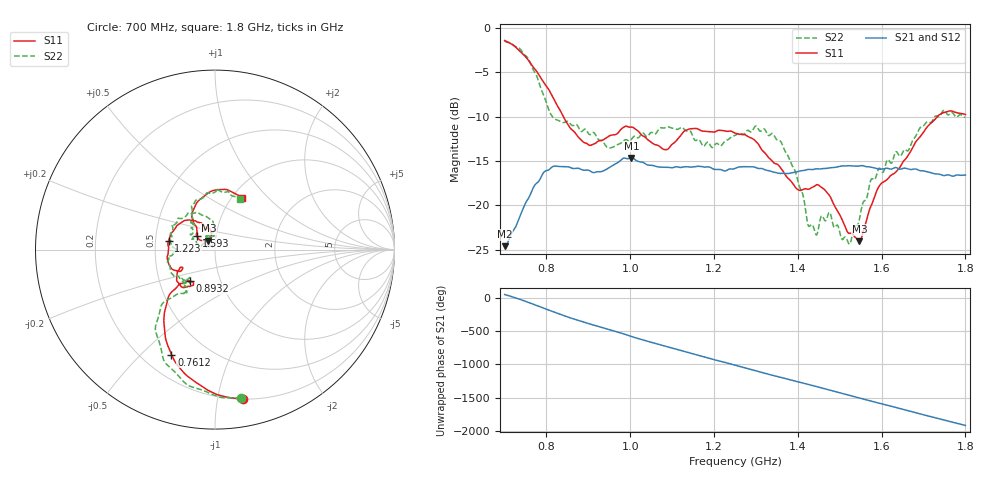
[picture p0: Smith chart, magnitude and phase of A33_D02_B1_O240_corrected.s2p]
! Created with skrf 1.9.0 (http://scikit-rf.org).
# Hz S RI R 50.0
!freq ReS11 ImS11 ReS21 ImS21 ReS12 ImS12 ReS22 ImS22
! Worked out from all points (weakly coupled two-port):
!   1601 points, 700 MHz to 1.8 GHz, reference 50 ohm
!   highest |S21| = -14.66 dB at 1.002 GHz (marker M1); lowest = -24.6 dB at 700.7 MHz (marker M2)
!   lowest |S11| = -24.1 dB at 1.547 GHz (marker M3), VSWR 1.13, Z = 46.2 + j4.68 ohm
!   |S11| at or under -10 dB: 840.1 MHz to 1.733 GHz (892.9 MHz wide, 69.4 % of centre)
!   |S22| runs from -24.4 to -1.5 dB; largest |S21 - S12| = 0.0034
!   S11 on the Smith chart (normalised r, x): 700 MHz: 0.20, -1.19; 761.2 MHz: 0.32, -0.62; 893.2 MHz: 0.71, -0.26; 1.223 GHz: 0.59, +0.06; 1.593 GHz: 0.81, +0.12; 1.8 GHz: 1.12, +0.72
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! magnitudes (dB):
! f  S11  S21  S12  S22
! 700 MHz  -1.4  -24.6  -24.4  -1.5
! 700.7 MHz  -1.4  -24.6  -24.3  -1.5
! 761.2 MHz  -4.0  -18.8  -18.7  -4.0
! 814.1 MHz  -7.7  -15.7  -15.7  -10.0
! 883.6 MHz  -12.7  -16.0  -15.9  -11.7
! 893.2 MHz  -13.0  -16.0  -16.1  -11.4
! 948.9 MHz  -12.2  -15.8  -15.8  -13.5
! 1.002 GHz  -11.2  -14.7  -14.8  -12.6
! 1.067 GHz  -13.3  -15.7  -15.6  -11.5
! 1.223 GHz  -11.6  -16.1  -16.1  -12.9
! 1.25 GHz  -11.9  -15.9  -15.8  -12.1
! 1.3 GHz  -12.8  -15.8  -15.7  -11.1
! 1.359 GHz  -15.8  -16.4  -16.4  -12.8
! 1.4 GHz  -18.2  -16.2  -16.2  -17.2
! 1.434 GHz  -18.0  -16.0  -15.9  -22.2
! 1.476 GHz  -18.9  -15.8  -15.8  -20.8
! 1.522 GHz  -23.2  -15.5  -15.6  -24.4
! 1.547 GHz  -24.1  -15.6  -15.6  -21.6
! 1.593 GHz  -17.9  -15.9  -15.9  -15.9
! 1.617 GHz  -16.9  -15.9  -15.8  -14.9
! 1.737 GHz  -9.8  -16.5  -16.5  -10.0
! 1.8 GHz  -9.8  -16.6  -16.6  -10.1
